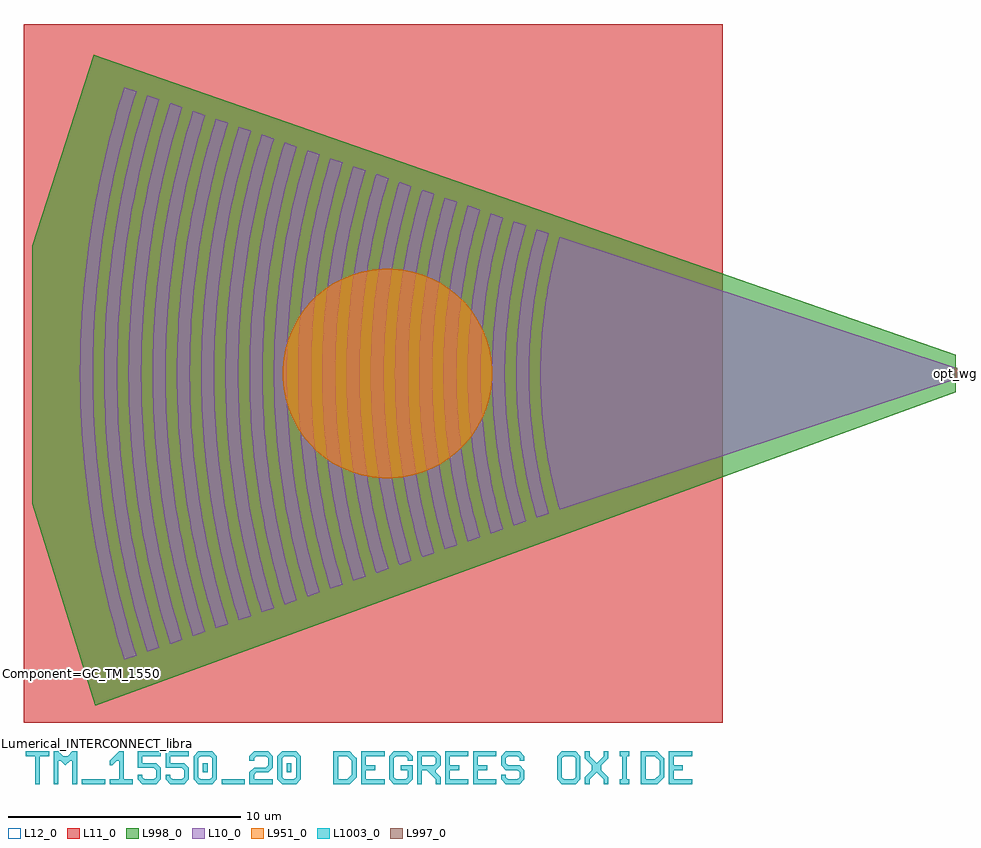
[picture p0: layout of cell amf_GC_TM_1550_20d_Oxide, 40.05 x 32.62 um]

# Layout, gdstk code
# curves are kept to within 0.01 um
import gdstk
lib = gdstk.Library(unit=1e-6, precision=1e-09)
def R(c, l, rs):  # rectangles x0, y0, x1, y1
    for r in rs: c.add(gdstk.rectangle(r[:2], r[2:], *l))
def P(c, l, *ps):  # polygons
    for p in ps: c.add(gdstk.Polygon(p, *l))
L10_0 = (10, 0)
L11_0 = (11, 0)
L12_0 = (12, 0)
L951_0 = (951, 0)
L997_0 = (997, 0)
L998_0 = (998, 0)
L1003_0 = (1003, 0)

amf_gc_tm_1550_20d_oxide = lib.new_cell('amf_GC_TM_1550_20d_Oxide')
R(amf_gc_tm_1550_20d_oxide, L10_0, [(-1,-0.25,0,0.25)])
P(amf_gc_tm_1550_20d_oxide, L10_0, [(-21.929,-7.551),(-22.184,-6.639),(-22.406,-5.721),(-22.594,-4.796),(-22.749,-3.867),(-22.871,-2.933),(-22.959,-1.996),(-23.014,-1.057),(-23.035,-0.118),(-23.022,0.823),(-22.976,1.762),(-22.896,2.699),(-22.783,3.634),(-22.636,4.564),(-22.406,5.721),(-22.184,6.639),(-21.929,7.551),(-21.399,7.368),(-21.647,6.479),(-21.863,5.582),(-22.046,4.68),(-22.197,3.773),(-22.316,2.862),(-22.401,1.948),(-22.455,1.032),(-22.475,0.115),(-22.463,-0.803),(-22.418,-1.719),(-22.34,-2.633),(-22.23,-3.545),(-22.087,-4.454),(-21.912,-5.357),(-21.647,-6.479),(-21.399,-7.368)],
  [(-22.912,-7.889),(-23.18,-6.937),(-23.413,-5.978),(-23.612,-5.012),(-23.775,-4.041),(-23.903,-3.065),(-23.995,-2.086),(-24.053,-1.105),(-24.075,-0.123),(-24.062,0.86),(-24.013,1.841),(-23.903,3.065),(-23.775,4.041),(-23.612,5.012),(-23.413,5.978),(-23.18,6.937),(-22.912,7.889),(-22.383,7.707),(-22.644,6.777),(-22.871,5.839),(-23.064,4.896),(-23.223,3.947),(-23.347,2.994),(-23.438,2.038),(-23.493,1.079),(-23.515,0.12),(-23.502,-0.84),(-23.438,-2.038),(-23.347,-2.994),(-23.223,-3.947),(-23.064,-4.896),(-22.871,-5.839),(-22.644,-6.777),(-22.383,-7.707)],
  [(-23.895,-8.228),(-24.176,-7.236),(-24.421,-6.235),(-24.629,-5.228),(-24.8,-4.215),(-24.934,-3.198),(-25.032,-2.176),(-25.092,-1.153),(-25.115,-0.128),(-25.092,1.153),(-25.032,2.176),(-24.934,3.198),(-24.8,4.215),(-24.629,5.228),(-24.421,6.235),(-24.176,7.236),(-23.895,8.228),(-23.366,8.046),(-23.64,7.075),(-23.878,6.097),(-24.081,5.112),(-24.248,4.121),(-24.379,3.126),(-24.474,2.128),(-24.532,1.127),(-24.555,0.125),(-24.541,-0.877),(-24.474,-2.128),(-24.379,-3.126),(-24.248,-4.121),(-24.081,-5.112),(-23.878,-6.097),(-23.64,-7.075),(-23.366,-8.046)],
  [(-24.879,-8.566),(-25.173,-7.534),(-25.429,-6.493),(-25.646,-5.444),(-25.825,-4.389),(-25.966,-3.33),(-26.068,-2.267),(-26.131,-1.201),(-26.155,-0.133),(-26.14,0.934),(-26.087,2),(-25.995,3.064),(-25.864,4.125),(-25.695,5.181),(-25.429,6.493),(-25.173,7.534),(-24.879,8.566),(-24.349,8.384),(-24.636,7.373),(-24.886,6.354),(-25.098,5.328),(-25.273,4.296),(-25.41,3.259),(-25.51,2.218),(-25.571,1.175),(-25.595,0.131),(-25.581,-0.914),(-25.529,-1.957),(-25.439,-2.999),(-25.311,-4.037),(-25.146,-5.07),(-24.943,-6.098),(-24.702,-7.119),(-24.349,-8.384)],
  [(-25.862,-8.905),(-26.169,-7.832),(-26.436,-6.75),(-26.664,-5.66),(-26.851,-4.564),(-26.997,-3.462),(-27.104,-2.357),(-27.17,-1.248),(-27.195,-0.139),(-27.17,1.248),(-27.104,2.357),(-26.997,3.462),(-26.851,4.564),(-26.664,5.66),(-26.436,6.75),(-26.169,7.832),(-25.862,8.905),(-25.333,8.723),(-25.633,7.671),(-25.894,6.611),(-26.116,5.544),(-26.299,4.47),(-26.442,3.391),(-26.546,2.308),(-26.61,1.223),(-26.635,0.136),(-26.62,-0.951),(-26.566,-2.037),(-26.472,-3.121),(-26.299,-4.47),(-26.116,-5.544),(-25.894,-6.611),(-25.633,-7.671),(-25.333,-8.723)],
  [(-26.845,-9.244),(-27.165,-8.13),(-27.444,-7.007),(-27.681,-5.876),(-27.876,-4.738),(-28.029,-3.594),(-28.14,-2.447),(-28.208,-1.296),(-28.235,-0.144),(-28.219,1.008),(-28.14,2.447),(-28.029,3.594),(-27.876,4.738),(-27.681,5.876),(-27.444,7.007),(-27.165,8.13),(-26.845,9.244),(-26.316,9.061),(-26.629,7.97),(-26.901,6.869),(-27.133,5.76),(-27.324,4.644),(-27.473,3.523),(-27.582,2.398),(-27.649,1.27),(-27.675,0.141),(-27.659,-0.988),(-27.603,-2.116),(-27.473,-3.523),(-27.324,-4.644),(-27.133,-5.76),(-26.901,-6.869),(-26.629,-7.97),(-26.316,-9.061)],
  [(-27.829,-9.582),(-28.162,-8.428),(-28.452,-7.264),(-28.698,-6.092),(-28.901,-4.912),(-29.06,-3.727),(-29.176,-2.537),(-29.247,-1.344),(-29.275,-0.149),(-29.258,1.045),(-29.198,2.239),(-29.093,3.43),(-28.945,4.616),(-28.753,5.798),(-28.452,7.264),(-28.162,8.428),(-27.829,9.582),(-27.299,9.4),(-27.625,8.268),(-27.909,7.126),(-28.15,5.976),(-28.349,4.818),(-28.505,3.655),(-28.618,2.488),(-28.688,1.318),(-28.715,0.146),(-28.699,-1.025),(-28.64,-2.196),(-28.505,-3.655),(-28.349,-4.818),(-28.15,-5.976),(-27.909,-7.126),(-27.625,-8.268),(-27.299,-9.4)],
  [(-28.812,-9.921),(-29.158,-8.727),(-29.459,-7.522),(-29.716,-6.308),(-29.927,-5.086),(-30.092,-3.859),(-30.212,-2.627),(-30.286,-1.392),(-30.315,-0.155),(-30.298,1.082),(-30.235,2.318),(-30.092,3.859),(-29.927,5.086),(-29.716,6.308),(-29.459,7.522),(-29.158,8.727),(-28.812,9.921),(-28.283,9.738),(-28.622,8.566),(-28.917,7.383),(-29.168,6.192),(-29.374,4.993),(-29.537,3.788),(-29.654,2.578),(-29.727,1.366),(-29.755,0.152),(-29.738,-1.062),(-29.676,-2.275),(-29.57,-3.486),(-29.419,-4.692),(-29.224,-5.893),(-28.984,-7.086),(-28.7,-8.271),(-28.283,-9.738)],
  [(-29.795,-10.259),(-30.154,-9.025),(-30.467,-7.779),(-30.733,-6.524),(-30.952,-5.261),(-31.124,-3.991),(-31.248,-2.717),(-31.325,-1.439),(-31.355,-0.16),(-31.337,1.12),(-31.272,2.398),(-31.124,3.991),(-30.952,5.261),(-30.733,6.524),(-30.467,7.779),(-30.154,9.025),(-29.795,10.259),(-29.266,10.077),(-29.618,8.864),(-29.924,7.64),(-30.185,6.408),(-30.4,5.167),(-30.568,3.92),(-30.69,2.668),(-30.766,1.414),(-30.795,0.157),(-30.766,-1.414),(-30.69,-2.668),(-30.568,-3.92),(-30.4,-5.167),(-30.185,-6.408),(-29.924,-7.64),(-29.618,-8.864),(-29.266,-10.077)],
  [(-30.779,-10.598),(-31.151,-9.323),(-31.475,-8.036),(-31.75,-6.74),(-31.977,-5.435),(-32.155,-4.124),(-32.284,-2.807),(-32.364,-1.487),(-32.395,-0.165),(-32.376,1.157),(-32.309,2.477),(-32.192,3.795),(-31.977,5.435),(-31.75,6.74),(-31.475,8.036),(-31.151,9.323),(-30.779,10.598),(-30.249,10.416),(-30.614,9.162),(-30.932,7.898),(-31.202,6.624),(-31.425,5.341),(-31.6,4.052),(-31.726,2.759),(-31.805,1.461),(-31.835,0.162),(-31.805,-1.461),(-31.726,-2.759),(-31.6,-4.052),(-31.425,-5.341),(-31.202,-6.624),(-30.932,-7.898),(-30.614,-9.162),(-30.249,-10.416)],
  [(-31.762,-10.937),(-32.147,-9.621),(-32.482,-8.294),(-32.768,-6.956),(-33.002,-5.609),(-33.187,-4.256),(-33.32,-2.897),(-33.403,-1.535),(-33.435,-0.171),(-33.416,1.194),(-33.346,2.557),(-33.225,3.917),(-33.053,5.272),(-32.768,6.956),(-32.482,8.294),(-32.147,9.621),(-31.762,10.937),(-31.233,10.754),(-31.611,9.461),(-31.94,8.155),(-32.22,6.839),(-32.45,5.515),(-32.631,4.185),(-32.762,2.849),(-32.844,1.509),(-32.875,0.168),(-32.856,-1.174),(-32.787,-2.514),(-32.669,-3.851),(-32.5,-5.183),(-32.22,-6.839),(-31.94,-8.155),(-31.611,-9.461),(-31.233,-10.754)],
  [(-32.745,-11.275),(-33.143,-9.919),(-33.49,-8.551),(-33.785,-7.172),(-34.028,-5.784),(-34.218,-4.388),(-34.356,-2.987),(-34.442,-1.583),(-34.475,-0.176),(-34.455,1.231),(-34.383,2.636),(-34.258,4.038),(-34.176,4.738),(-34.028,5.784),(-33.785,7.172),(-33.49,8.551),(-33.143,9.919),(-32.745,11.275),(-32.216,11.093),(-32.607,9.759),(-32.947,8.412),(-33.237,7.055),(-33.476,5.69),(-33.663,4.317),(-33.798,2.939),(-33.882,1.557),(-33.915,0.173),(-33.895,-1.211),(-33.824,-2.594),(-33.702,-3.973),(-33.476,-5.69),(-33.237,-7.055),(-32.947,-8.412),(-32.607,-9.759),(-32.216,-11.093)],
  [(-33.729,-11.614),(-34.14,-10.217),(-34.498,-8.808),(-34.802,-7.388),(-35.053,-5.958),(-35.25,-4.52),(-35.392,-3.077),(-35.481,-1.63),(-35.515,-0.181),(-35.494,1.268),(-35.42,2.716),(-35.291,4.16),(-35.206,4.88),(-35.053,5.958),(-34.802,7.388),(-34.498,8.808),(-34.14,10.217),(-33.729,11.614),(-33.199,11.431),(-33.603,10.057),(-33.955,8.67),(-34.254,7.271),(-34.501,5.864),(-34.694,4.449),(-34.835,3.029),(-34.921,1.605),(-34.955,0.178),(-34.935,-1.248),(-34.905,-1.961),(-34.835,-3.029),(-34.694,-4.449),(-34.501,-5.864),(-34.254,-7.271),(-33.955,-8.67),(-33.603,-10.057),(-33.199,-11.431)],
  [(-34.712,-11.952),(-35.136,-10.516),(-35.505,-9.065),(-35.82,-7.604),(-36.078,-6.132),(-36.281,-4.653),(-36.429,-3.167),(-36.52,-1.678),(-36.555,-0.186),(-36.52,1.678),(-36.429,3.167),(-36.281,4.653),(-36.078,6.132),(-35.82,7.604),(-35.505,9.065),(-35.136,10.516),(-34.712,11.952),(-34.183,11.77),(-34.6,10.355),(-34.963,8.927),(-35.272,7.487),(-35.526,6.038),(-35.726,4.581),(-35.871,3.119),(-35.96,1.652),(-35.995,0.184),(-35.974,-1.285),(-35.943,-2.019),(-35.871,-3.119),(-35.726,-4.581),(-35.526,-6.038),(-35.272,-7.487),(-34.963,-8.927),(-34.6,-10.355),(-34.183,-11.77)],
  [(-35.695,-12.291),(-36.132,-10.814),(-36.513,-9.323),(-36.837,-7.82),(-37.104,-6.306),(-37.313,-4.785),(-37.465,-3.257),(-37.559,-1.726),(-37.595,-0.192),(-37.573,1.342),(-37.494,2.875),(-37.396,4.022),(-37.313,4.785),(-37.104,6.306),(-36.837,7.82),(-36.513,9.323),(-36.132,10.814),(-35.695,12.291),(-35.166,12.109),(-35.596,10.653),(-35.97,9.184),(-36.289,7.703),(-36.552,6.213),(-36.757,4.714),(-36.907,3.209),(-36.999,1.7),(-37.035,0.189),(-37.024,-0.945),(-36.999,-1.7),(-36.907,-3.209),(-36.757,-4.714),(-36.552,-6.213),(-36.289,-7.703),(-35.97,-9.184),(-35.596,-10.653),(-35.166,-12.109)],
  [(-17.012,-5.858),(-17.202,-5.148),(-17.367,-4.434),(-17.508,-3.716),(-17.623,-2.995),(-17.713,-2.272),(-17.779,-1.546),(-17.812,-1.001),(-17.835,-0.091),(-17.826,0.637),(-17.791,1.364),(-17.732,2.09),(-17.648,2.815),(-17.539,3.536),(-17.405,4.255),(-17.246,4.97),(-17.012,5.858),(0,0.25),(0,-0.25)],
  [(-17.995,-6.196),(-18.198,-5.446),(-18.375,-4.692),(-18.525,-3.932),(-18.648,-3.17),(-18.745,-2.404),(-18.815,-1.636),(-18.858,-0.867),(-18.875,-0.096),(-18.865,0.674),(-18.828,1.444),(-18.765,2.212),(-18.675,2.978),(-18.525,3.932),(-18.375,4.692),(-18.198,5.446),(-17.995,6.196),(-17.466,6.014),(-17.792,4.737),(-18.04,3.446),(-18.19,2.333),(-18.291,1.028),(-18.315,0.093),(-18.299,-0.841),(-18.243,-1.774),(-18.169,-2.519),(-18.04,-3.446),(-17.871,-4.369),(-17.662,-5.286),(-17.466,-6.014)],
  [(-18.979,-6.535),(-19.195,-5.745),(-19.383,-4.949),(-19.542,-4.148),(-19.674,-3.344),(-19.777,-2.536),(-19.851,-1.726),(-19.897,-0.914),(-19.915,-0.102),(-19.897,0.914),(-19.851,1.726),(-19.777,2.536),(-19.674,3.344),(-19.542,4.148),(-19.383,4.949),(-19.195,5.745),(-18.979,6.535),(-18.449,6.353),(-18.609,5.777),(-18.797,5.004),(-18.921,4.422),(-19.061,3.641),(-19.175,2.858),(-19.242,2.268),(-19.307,1.48),(-19.338,0.889),(-19.355,0.099),(-19.338,-0.889),(-19.278,-1.875),(-19.175,-2.858),(-19.029,-3.837),(-18.881,-4.616),(-18.706,-5.391),(-18.449,-6.353)],
  [(-19.962,-6.873),(-20.191,-6.043),(-20.39,-5.206),(-20.56,-4.364),(-20.699,-3.518),(-20.808,-2.668),(-20.887,-1.816),(-20.936,-0.962),(-20.955,-0.107),(-20.944,0.748),(-20.887,1.816),(-20.808,2.668),(-20.699,3.518),(-20.56,4.364),(-20.39,5.206),(-20.191,6.043),(-19.962,6.873),(-19.432,6.691),(-19.655,5.882),(-19.802,5.272),(-19.974,4.453),(-20.083,3.837),(-20.176,3.218),(-20.275,2.39),(-20.344,1.56),(-20.377,0.936),(-20.395,0.104),(-20.377,-0.936),(-20.313,-1.975),(-20.229,-2.804),(-20.083,-3.837),(-19.891,-4.863),(-19.706,-5.679),(-19.432,-6.691)],
  [(-20.945,-7.212),(-21.187,-6.341),(-21.398,-5.463),(-21.577,-4.58),(-21.724,-3.692),(-21.84,-2.801),(-21.923,-1.906),(-21.975,-1.01),(-21.995,-0.112),(-21.983,0.785),(-21.939,1.682),(-21.864,2.577),(-21.756,3.47),(-21.617,4.359),(-21.446,5.243),(-21.243,6.122),(-20.945,7.212),(-20.416,7.03),(-20.651,6.18),(-20.807,5.539),(-20.989,4.68),(-21.104,4.032),(-21.203,3.382),(-21.307,2.512),(-21.381,1.639),(-21.416,0.984),(-21.435,0.109),(-21.416,-0.984),(-21.348,-2.076),(-21.232,-3.164),(-21.068,-4.248),(-20.902,-5.11),(-20.705,-5.967),(-20.416,-7.03)])
R(amf_gc_tm_1550_20d_oxide, L11_0, [(-40,-15,-10,15)])
R(amf_gc_tm_1550_20d_oxide, L12_0, [(-40,-15,-10,15), (-40,-15,-10,15)])
P(amf_gc_tm_1550_20d_oxide, L951_0, [(-24.62,-4.5),(-25.06,-4.457),(-25.494,-4.37),(-25.917,-4.242),(-26.325,-4.073),(-26.715,-3.864),(-27.083,-3.619),(-27.425,-3.338),(-27.737,-3.026),(-28.018,-2.684),(-28.263,-2.316),(-28.472,-1.926),(-28.641,-1.518),(-28.769,-1.095),(-28.856,-0.661),(-28.899,-0.221),(-28.899,0.221),(-28.856,0.661),(-28.769,1.095),(-28.641,1.518),(-28.472,1.926),(-28.263,2.316),(-28.018,2.684),(-27.737,3.026),(-27.425,3.338),(-27.083,3.619),(-26.715,3.864),(-26.325,4.073),(-25.917,4.242),(-25.494,4.37),(-25.06,4.457),(-24.62,4.5),(-24.178,4.5),(-23.738,4.457),(-23.304,4.37),(-22.881,4.242),(-22.473,4.073),(-22.083,3.864),(-21.715,3.619),(-21.373,3.338),(-21.061,3.026),(-20.78,2.684),(-20.535,2.316),(-20.326,1.926),(-20.157,1.518),(-20.029,1.095),(-19.942,0.661),(-19.899,0.221),(-19.899,-0.221),(-19.942,-0.661),(-20.029,-1.095),(-20.157,-1.518),(-20.326,-1.926),(-20.535,-2.316),(-20.78,-2.684),(-21.061,-3.026),(-21.373,-3.338),(-21.715,-3.619),(-22.083,-3.864),(-22.473,-4.073),(-22.881,-4.242),(-23.304,-4.37),(-23.738,-4.457),(-24.178,-4.5)])
P(amf_gc_tm_1550_20d_oxide, L998_0, [(-36.93,-14.26),(-39.65,-5.6),(-39.65,5.474),(-37.01,13.68),(0,0.8),(0,-0.8)])
R(amf_gc_tm_1550_20d_oxide, L1003_0, [(-37.52,-17.62,-36.52,-17.42), (-31.52,-17.62,-30.52,-17.42), (-32.32,-17.12,-32.12,-16.72), (-28.72,-17.12,-28.52,-16.72)])
P(amf_gc_tm_1550_20d_oxide, L1003_0, [(-39.52,-17.62),(-39.52,-16.42),(-39.92,-16.42),(-39.92,-16.22),(-38.92,-16.22),(-38.92,-16.42),(-39.32,-16.42),(-39.32,-17.62)],
  [(-38.72,-17.62),(-38.72,-16.22),(-38.52,-16.22),(-38.32,-16.42),(-38.12,-16.42),(-37.92,-16.22),(-37.72,-16.22),(-37.72,-17.62),(-37.92,-17.62),(-37.92,-16.62),(-38.02,-16.62),(-38.22,-16.82),(-38.42,-16.62),(-38.52,-16.62),(-38.52,-17.62)],
  [(-36.32,-17.62),(-36.32,-17.42),(-35.92,-17.42),(-35.92,-16.62),(-36.02,-16.62),(-36.22,-16.82),(-36.32,-16.82),(-36.32,-16.62),(-35.92,-16.22),(-35.72,-16.22),(-35.72,-17.42),(-35.32,-17.42),(-35.32,-17.62)],
  [(-34.92,-17.62),(-35.12,-17.42),(-35.12,-17.22),(-34.92,-17.22),(-34.92,-17.32),(-34.82,-17.42),(-34.42,-17.42),(-34.32,-17.32),(-34.32,-17.02),(-34.42,-16.92),(-35.12,-16.92),(-35.12,-16.22),(-34.12,-16.22),(-34.12,-16.42),(-34.92,-16.42),(-34.92,-16.72),(-34.32,-16.72),(-34.12,-16.92),(-34.12,-17.42),(-34.32,-17.62)],
  [(-33.72,-17.62),(-33.92,-17.42),(-33.92,-17.22),(-33.72,-17.22),(-33.72,-17.32),(-33.62,-17.42),(-33.22,-17.42),(-33.12,-17.32),(-33.12,-17.02),(-33.22,-16.92),(-33.92,-16.92),(-33.92,-16.22),(-32.92,-16.22),(-32.92,-16.42),(-33.72,-16.42),(-33.72,-16.72),(-33.12,-16.72),(-32.92,-16.92),(-32.92,-17.42),(-33.12,-17.62)],
  [(-32.52,-17.62),(-32.72,-17.42),(-32.72,-16.42),(-32.52,-16.22),(-31.92,-16.22),(-31.72,-16.42),(-32.42,-16.42),(-32.52,-16.52),(-32.52,-17.32),(-32.42,-17.42),(-32.02,-17.42),(-31.92,-17.32),(-31.92,-16.52),(-32.02,-16.42),(-31.72,-16.42),(-31.72,-17.42),(-31.92,-17.62)],
  [(-30.32,-17.62),(-30.32,-17.12),(-30.12,-16.92),(-29.62,-16.92),(-29.52,-16.82),(-29.52,-16.52),(-29.62,-16.42),(-30.02,-16.42),(-30.12,-16.52),(-30.12,-16.62),(-30.32,-16.62),(-30.32,-16.42),(-30.12,-16.22),(-29.52,-16.22),(-29.32,-16.42),(-29.32,-16.92),(-29.52,-17.12),(-30.02,-17.12),(-30.12,-17.22),(-30.12,-17.42),(-29.32,-17.42),(-29.32,-17.62)],
  [(-28.92,-17.62),(-29.12,-17.42),(-29.12,-16.42),(-28.92,-16.22),(-28.32,-16.22),(-28.12,-16.42),(-28.82,-16.42),(-28.92,-16.52),(-28.92,-17.32),(-28.82,-17.42),(-28.42,-17.42),(-28.32,-17.32),(-28.32,-16.52),(-28.42,-16.42),(-28.12,-16.42),(-28.12,-17.42),(-28.32,-17.62)],
  [(-26.72,-17.62),(-26.72,-16.22),(-26.02,-16.22),(-25.82,-16.42),(-26.52,-16.42),(-26.52,-17.42),(-26.12,-17.42),(-25.92,-17.22),(-25.92,-16.62),(-26.12,-16.42),(-25.82,-16.42),(-25.72,-16.52),(-25.72,-17.32),(-26.02,-17.62)],
  [(-25.52,-17.62),(-25.52,-16.22),(-24.52,-16.22),(-24.52,-16.42),(-25.32,-16.42),(-25.32,-16.82),(-24.92,-16.82),(-24.92,-17.02),(-25.32,-17.02),(-25.32,-17.42),(-24.52,-17.42),(-24.52,-17.62)],
  [(-24.12,-17.62),(-24.32,-17.42),(-24.32,-16.42),(-24.12,-16.22),(-23.52,-16.22),(-23.32,-16.42),(-23.32,-16.62),(-23.52,-16.62),(-23.52,-16.52),(-23.62,-16.42),(-24.02,-16.42),(-24.12,-16.52),(-24.12,-17.32),(-24.02,-17.42),(-23.62,-17.42),(-23.52,-17.32),(-23.52,-17.02),(-23.82,-17.02),(-23.82,-16.82),(-23.32,-16.82),(-23.32,-17.42),(-23.52,-17.62)],
  [(-23.12,-17.62),(-23.12,-16.22),(-22.32,-16.22),(-22.12,-16.42),(-22.92,-16.42),(-22.92,-16.82),(-22.42,-16.82),(-22.32,-16.72),(-22.32,-16.52),(-22.42,-16.42),(-22.12,-16.42),(-22.12,-16.82),(-22.32,-17.02),(-22.32,-17.12),(-22.12,-17.32),(-22.12,-17.62),(-22.32,-17.62),(-22.32,-17.42),(-22.72,-17.02),(-22.92,-17.02),(-22.92,-17.62)],
  [(-21.92,-17.62),(-21.92,-16.22),(-20.92,-16.22),(-20.92,-16.42),(-21.72,-16.42),(-21.72,-16.82),(-21.32,-16.82),(-21.32,-17.02),(-21.72,-17.02),(-21.72,-17.42),(-20.92,-17.42),(-20.92,-17.62)],
  [(-20.72,-17.62),(-20.72,-16.22),(-19.72,-16.22),(-19.72,-16.42),(-20.52,-16.42),(-20.52,-16.82),(-20.12,-16.82),(-20.12,-17.02),(-20.52,-17.02),(-20.52,-17.42),(-19.72,-17.42),(-19.72,-17.62)],
  [(-19.32,-17.62),(-19.52,-17.42),(-19.52,-17.22),(-19.32,-17.22),(-19.32,-17.32),(-19.22,-17.42),(-18.82,-17.42),(-18.72,-17.32),(-18.72,-17.12),(-18.82,-17.02),(-19.32,-17.02),(-19.52,-16.82),(-19.52,-16.42),(-19.32,-16.22),(-18.72,-16.22),(-18.52,-16.42),(-18.52,-16.62),(-18.72,-16.62),(-18.72,-16.52),(-18.82,-16.42),(-19.22,-16.42),(-19.32,-16.52),(-19.32,-16.72),(-19.22,-16.82),(-18.72,-16.82),(-18.52,-17.02),(-18.52,-17.42),(-18.72,-17.62)],
  [(-16.92,-17.62),(-17.12,-17.42),(-17.12,-16.42),(-16.92,-16.22),(-16.32,-16.22),(-16.12,-16.42),(-16.12,-16.92),(-16.32,-16.92),(-16.32,-16.52),(-16.42,-16.42),(-16.82,-16.42),(-16.92,-16.52),(-16.92,-17.32),(-16.82,-17.42),(-16.42,-17.42),(-16.32,-17.32),(-16.32,-16.92),(-16.12,-16.92),(-16.12,-17.42),(-16.32,-17.62)],
  [(-15.92,-17.62),(-15.92,-17.32),(-15.62,-17.02),(-15.62,-16.82),(-15.92,-16.52),(-15.92,-16.22),(-15.72,-16.22),(-15.72,-16.42),(-15.42,-16.72),(-15.12,-16.42),(-15.12,-16.22),(-14.92,-16.22),(-14.92,-16.52),(-15.22,-16.82),(-15.22,-17.02),(-14.92,-17.32),(-14.92,-17.62),(-15.12,-17.62),(-15.12,-17.42),(-15.42,-17.12),(-15.72,-17.42),(-15.72,-17.62)],
  [(-14.42,-17.62),(-14.42,-17.42),(-14.32,-17.42),(-14.32,-16.42),(-14.42,-16.42),(-14.42,-16.22),(-14.02,-16.22),(-14.02,-16.42),(-14.12,-16.42),(-14.12,-17.42),(-14.02,-17.42),(-14.02,-17.62)],
  [(-13.52,-17.62),(-13.52,-16.22),(-12.82,-16.22),(-12.62,-16.42),(-13.32,-16.42),(-13.32,-17.42),(-12.92,-17.42),(-12.72,-17.22),(-12.72,-16.62),(-12.92,-16.42),(-12.62,-16.42),(-12.52,-16.52),(-12.52,-17.32),(-12.82,-17.62)],
  [(-12.32,-17.62),(-12.32,-16.22),(-11.32,-16.22),(-11.32,-16.42),(-12.12,-16.42),(-12.12,-16.82),(-11.72,-16.82),(-11.72,-17.02),(-12.12,-17.02),(-12.12,-17.42),(-11.32,-17.42),(-11.32,-17.62)])
amf_gc_tm_1550_20d_oxide.add(gdstk.FlexPath([(-0.05,0),(0.05,0)], 0.5, ends="flush", simple_path=True, layer=997, datatype=0))  # L997_0
amf_gc_tm_1550_20d_oxide.add(gdstk.Label('opt_wg', (0,0), layer=997, texttype=0))
amf_gc_tm_1550_20d_oxide.add(gdstk.Label('Lumerical_INTERCONNECT_library=Design kits/SiEPIC_AMF', (-38.98,-15.88), layer=998, texttype=0))
amf_gc_tm_1550_20d_oxide.add(gdstk.Label('Component=GC_TM_1550', (-38.98,-12.88), layer=998, texttype=0))

lib.write_gds('amf_GC_TM_1550_20d_Oxide.gds')
